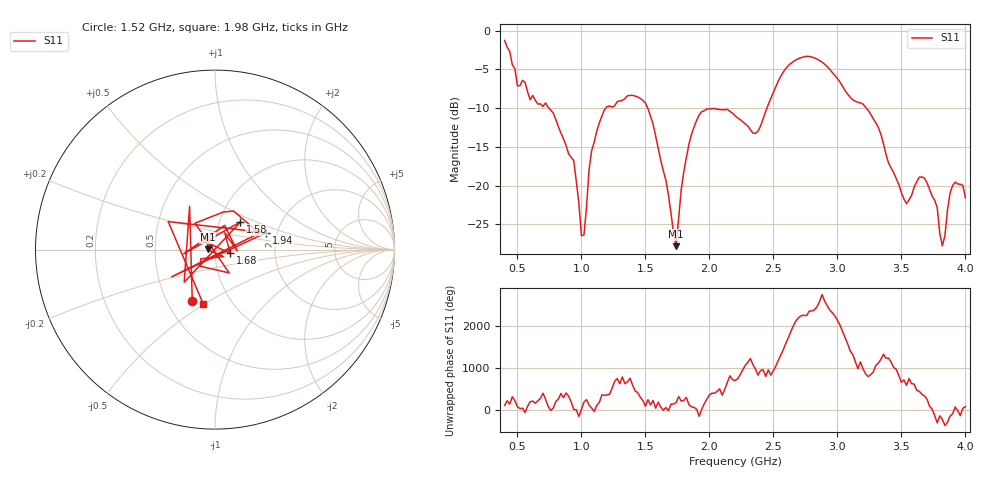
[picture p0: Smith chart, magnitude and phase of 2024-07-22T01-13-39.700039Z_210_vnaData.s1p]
!Created with skrf (http://scikit-rf.org).
# Hz S RI R 50.0
!freq ReS11 ImS11
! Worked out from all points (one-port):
!   181 points, 400 MHz to 4 GHz, reference 50 ohm
!   lowest |S11| = -27.8 dB at 1.74 GHz (marker M1), VSWR 1.08, Z = 46.1 + j0.0519 ohm
!   |S11| at or under -10 dB: 746.3 MHz to 1.19 GHz (444 MHz wide, 45.9 % of centre); 1.518 GHz to 2.45 GHz (931.2 MHz wide, 46.9 % of centre); 3.226 GHz to end of sweep
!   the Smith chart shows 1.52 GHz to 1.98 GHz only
!   S11 on the Smith chart (normalised r, x): 1.52 GHz: 0.67, -0.43; 1.58 GHz: 1.26, +0.40; 1.68 GHz: 1.18, -0.05; 1.94 GHz: 1.75, +0.36; 1.98 GHz: 0.74, -0.50
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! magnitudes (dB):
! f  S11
! 400 MHz  -1.3
! 500 MHz  -7.1
! 860 MHz  -14.0
! 940 MHz  -16.8
! 1 GHz  -26.5
! 1.02 GHz  -26.4
! 1.06 GHz  -17.9
! 1.12 GHz  -13.0
! 1.3 GHz  -9.1
! 1.52 GHz  -10.1
! 1.58 GHz  -13.6
! 1.68 GHz  -21.2
! 1.74 GHz  -27.8
! 1.76 GHz  -24.1
! 1.84 GHz  -14.7
! 1.94 GHz  -10.5
! 1.98 GHz  -10.1
! 2.2 GHz  -11.0
! 2.38 GHz  -13.0
! 2.66 GHz  -3.9
! 3.1 GHz  -8.6
! 3.3 GHz  -11.9
! 3.56 GHz  -21.8
! 3.68 GHz  -19.1
! 3.78 GHz  -22.8
! 3.82 GHz  -27.8
! 3.9 GHz  -20.0
! 4 GHz  -21.6
